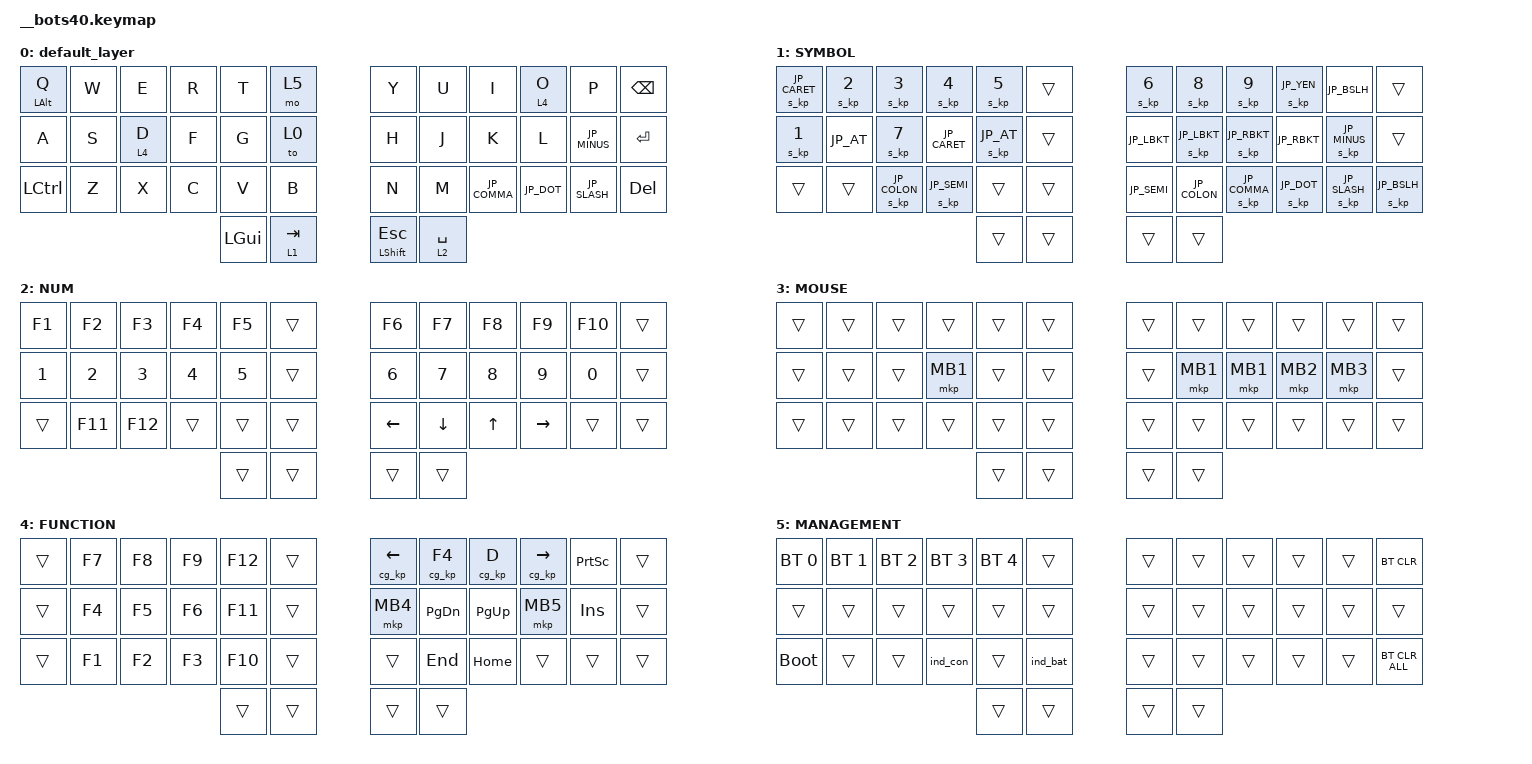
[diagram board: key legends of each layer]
#include <behaviors.dtsi>
#include <dt-bindings/zmk/bt.h>
#include <dt-bindings/zmk/keys.h>
#include <dt-bindings/zmk/pointing.h>

#include "./keycode_japanese.h"
#include <behaviors/rgbled_widget.dtsi>
#include <input/processors.dtsi>

// マウスの速度設定
// default; 600
#define ZMK_POINTING_DEFAULT_MOVE_VAL 1500 
// default; 10
#define ZMK_POINTING_DEFAULT_SCRL_VAL 20

&mt {
    flavor = "balanced";
    quick-tap-ms = <0>;
};

&mmv {
    time-to-max-speed-ms = <300>;
    acceleration-exponent = <1>;
};
&msc {
    time-to-max-speed-ms = <0>;
    acceleration-exponent = <1>;
};

// マウスキーを押したとき、指定した秒数だけマウスレイヤーを延長する
&mkp_input_listener {
    input-processors = <&zip_temp_layer 5 200>;
};

/ {
    combos {
        compatible = "zmk,combos";
    };

    macros {
         s_kp: s_kp {
            label = "S_KP";
            compatible = "zmk,behavior-macro-one-param";
            wait-ms = <16>;
            tap-ms = <0>;
            #binding-cells = <1>;
            bindings
                = <&macro_press &kp LSHFT>
                , <&macro_param_1to1>
                , <&macro_tap &kp MACRO_PLACEHOLDER>
                , <&macro_release &kp LSHFT>
                ;
        };
        cg_kp: cg_kp {
            label = "CG_KP";
            compatible = "zmk,behavior-macro-one-param";
            wait-ms = <16>;
            tap-ms = <0>;
            #binding-cells = <1>;
            bindings
                = <&macro_press &kp LGUI>
                , <&macro_press &kp LCTRL>
                , <&macro_param_1to1>
                , <&macro_tap &kp MACRO_PLACEHOLDER>
                , <&macro_release &kp LGUI>
                , <&macro_release &kp LCTRL>
                ;
        };
        // to_layer_0: to_layer_0 {
        //     compatible = "zmk,behavior-macro-one-param";
        //     #binding-cells = <1>;
        //     bindings = <&to 0 &macro_param_1to1 &kp MACRO_PLACEHOLDER>;
        //     label = "TO_LAYER_0";
        // };
    };

    behaviors {
        // lt_to_layer_0: lt_to_layer_0 {
        //     compatible = "zmk,behavior-hold-tap";
        //     label = "LAYER_TAP_TO_0";
        //     bindings = <&mo>, <&to_layer_0>;

        //     #binding-cells = <2>;
        //     tapping-term-ms = <200>;
        // };
    };

    keymap {
        compatible = "zmk,keymap";

        default_layer { //layer 0
            bindings = <
                &mt LALT Q  &kp W  &kp E    &kp R     &kp T      &mo 5              &kp Y  &kp U  &kp I         &lt 4 O     &kp P         &kp BSPC
                &kp A       &kp S  &lt 4 D  &kp F     &kp G      &to 0              &kp H  &kp J  &kp K         &kp L       &kp JP_MINUS  &kp RET
                &kp LCTRL   &kp Z  &kp X    &kp C     &kp V      &kp B              &kp N  &kp M  &kp JP_COMMA  &kp JP_DOT  &kp JP_SLASH  &kp DEL
                                            &kp LGUI  &lt 1 TAB  &mt LSHFT ESC      &lt 2 SPACE
            >;
        };
        /* layer 0
         *         ┌───┬───┬───┬─5─┐  ┌───┬───┬───┬───┐        
         * ┌Alt┬───┤ E │ R │ T │   │  │ Y │ U │ I │ O ├───┬───┐
         * │ Q │ W ├─2─┼───┼───┼───┤  ├───┼───┼───┼───┤ P │BSP│
         * ├───┼───┤ D │ F │ G │   │  │ H │ J │ K │ L ├───┼───┤
         * │ A │ S ├───┼───┼───┼───┤  ├───┼───┼───┼───┤ - │Ent│
         * ├───┼───┤ X │ C │ V │ B │  │ N │ M │ , │ . ├───┼───┤
         * │Ctl│ Z ├───┴───┴───┴───┘  └───┴───┴───┴───┤ / │Del│
         * └───┴───┘   ┌───┬─1─┬Sft┐  ┌─2─┐           └───┴───┘
         *             │GUI│Tab│Esc│  │Spc│                    
         *             └───┴───┴───┘  └───┘                    
         */

        SYMBOL { //layer 1
            bindings = <
                &s_kp JP_CARET  &s_kp N2     &s_kp N3        &s_kp N4       &s_kp N5     &trans            &s_kp N6     &s_kp N8       &s_kp N9        &s_kp JP_YEN  &kp JP_BSLH     &trans
                &s_kp N1        &kp JP_AT    &s_kp N7        &kp JP_CARET   &s_kp JP_AT  &trans            &kp JP_LBKT  &s_kp JP_LBKT  &s_kp JP_RBKT   &kp JP_RBKT   &s_kp JP_MINUS  &trans
                &trans          &trans       &s_kp JP_COLON  &s_kp JP_SEMI  &trans       &trans            &kp JP_SEMI  &kp JP_COLON   &s_kp JP_COMMA  &s_kp JP_DOT  &s_kp JP_SLASH  &s_kp JP_BSLH
                                                             &trans         &trans       &trans            &trans
            >;
        };
        /* layer 1
         *         ┌───┬───┬───┬───┐  ┌───┬───┬───┬───┐        
         * ┌───┬───┤ # │ $ │ % │   │  │ & │ ( │ ) │ | ├───┬───┐
         * │ ~ │ " ├───┼───┼───┼───┤  ├───┼───┼───┼───┤ \ │   │
         * ├───┼───┤ ' │ ^ │ ` │   │  │ [ │ { │ } │ ] ├───┼───┤
         * │ ! │ @ ├───┼───┼───┼───┤  ├───┼───┼───┼───┤ = │   │
         * ├───┼───┤ * │ + │   │   │  │ ; │ : │ < │ > ├───┼───┤
         * │   │   ├───┴───┴───┴───┘  └───┴───┴───┴───┤ ? │ _ │
         * └───┴───┘   ┌───┬───┬───┐  ┌───┐           └───┴───┘
         *             │   │   │   │  │   │                    
         *             └───┴───┴───┘  └───┘                    
         */

        NUM { //layer 2
            bindings = <
                &kp F1  &kp F2   &kp F3   &kp F4  &kp F5  &trans                         &kp F6  &kp F7  &kp F8  &kp F9  &kp F10  &trans
                &kp N1  &kp N2   &kp N3   &kp N4  &kp N5  &trans                         &kp N6  &kp N7  &kp N8  &kp N9  &kp N0   &trans
                &trans  &kp F11  &kp F12  &trans  &trans  &trans                         &kp LEFT_ARROW  &kp DOWN_ARROW  &kp UP_ARROW  &kp RIGHT_ARROW  &trans  &trans
                                          &trans  &trans  &trans                         &trans
            >;
        };
        /* layer 2(scroll)
         *         ┌───┬───┬───┬───┐  ┌───┬───┬───┬───┐        
         * ┌───┬───┤   │   │   │   │  │   │   │   │   ├───┬───┐
         * │   │   ├───┼───┼───┼───┤  ├───┼───┼───┼───┤   │   │
         * ├───┼───┤ 3 │ 4 │ 5 │   │  │ 6 │ 7 │ 8 │ 9 ├───┼───┤
         * │ 1 │ 2 ├───┼───┼───┼───┤  ├───┼───┼───┼───┤ 0 │   │
         * ├───┼───┤   │   │   │   │  │ ← │ ↓ │ ↑ │ → ├───┼───┤
         * │   │   ├───┴───┴───┴───┘  └───┴───┴───┴───┤   │   │
         * └───┴───┘   ┌───┬───┬───┐  ┌───┐           └───┴───┘
         *             │   │   │   │  │   │                    
         *             └───┴───┴───┘  └───┘                    
         */

        MOUSE { //layer 3
            bindings = <
                &trans  &trans  &trans  &trans    &trans  &trans                               &trans  &trans    &trans    &trans    &trans    &trans
                &trans  &trans  &trans  &mkp MB1  &trans  &trans                               &trans  &mkp MB1  &mkp MB1  &mkp MB2  &mkp MB3  &trans
                &trans  &trans  &trans  &trans    &trans  &trans                               &trans  &trans    &trans    &trans    &trans    &trans
                                        &trans    &trans  &trans                               &trans
            >;
        };
        /* layer 3
         *         ┌───┬───┬───┬───┐  ┌───┬───┬───┬───┐          M1: 
         * ┌───┬───┤   │   │   │   │  │   │   │MB3│   ├───┬───┐  M2: Alt-Left 
         * │Tab│   ├───┼───┼───┼───┤  ├───┼───┼───┼───┤   │   │  M3: Alt-Right
         * ├───┼───┤   │M2 │M3 │N/A│  │   │   │MB1│MB2├───┼───┤  M4: 
         * │   │   ├───┼───┼───┼───┤  ├───┼───┼───┼───┤   │   │
         * ├───┼───┤   │   │   │   │  │MML│MMD│MMU│MMR├───┼───┤
         * │   │   ├───┴───┴───┴───┘  └───┴───┴───┴───┤   │   │
         * └───┴───┘   ┌───┬───┬───┐  ┌───┐           └───┴───┘
         *             │   │   │   │  │   │                    
         *             └───┴───┴───┘  └───┘                    
         */

        FUNCTION { //layer 4
            bindings = <
                &trans  &kp F7  &kp F8  &kp F9  &kp F12  &trans                      &cg_kp LEFT_ARROW &cg_kp F4  &cg_kp D   &cg_kp RIGHT_ARROW  &kp PSCRN  &trans
                &trans  &kp F4  &kp F5  &kp F6  &kp F11  &trans                      &mkp MB4          &kp PG_DN  &kp PG_UP  &mkp MB5            &kp INS    &trans
                &trans  &kp F1  &kp F2  &kp F3  &kp F10  &trans                      &trans            &kp END    &kp HOME   &trans              &trans     &trans
                                        &trans  &trans   &trans                      &trans
            >;
        };
        /* layer 4
         *         ┌───┬───┬───┬───┐  ┌───┬───┬───┬───┐          M1: Win-Ctrl-Left
         * ┌───┬───┤F9 │F10│F11│F12│  │M1 │M2 │M3 │M4 ├───┬───┐  M2: Win-Ctrl-F4
         * │Tab│   ├───┼───┼───┼───┤  ├───┼───┼───┼───┤Prs│   │  M4: Win-Ctrl-D
         * ├───┼───┤F5 │F6 │F7 │F8 │  │MB4│PDn│PUp│MB5├───┼───┤  M3: Win-Ctrl-Right
         * │   │   ├───┼───┼───┼───┤  ├───┼───┼───┼───┤Ins│   │
         * ├───┼───┤F1 │F2 │F3 │F4 │  │   │End│Hom│   ├───┼───┤
         * │   │   ├───┴───┴───┴───┘  └───┴───┴───┴───┤   │   │
         * └───┴───┘   ┌───┬───┬───┐  ┌───┐           └───┴───┘
         *             │   │   │   │  │N/A│                    
         *             └───┴───┴───┘  └───┘                    
         */
        MANAGEMENT { //layer 5
            bindings = <
                &bt BT_SEL 0  &bt BT_SEL 1  &bt BT_SEL 2  &bt BT_SEL 3  &bt BT_SEL 4  &trans                  &trans  &trans  &trans  &trans  &trans  &bt BT_CLR
                &trans        &trans        &trans        &trans        &trans        &trans                  &trans  &trans  &trans  &trans  &trans  &trans
                &bootloader   &trans        &trans        &ind_con      &trans        &ind_bat                &trans  &trans  &trans  &trans  &trans  &bt BT_CLR_ALL
                                                          &trans        &trans        &trans                  &trans
            >;
        };
        /* layer 5
         *         ┌───┬───┬───┬───┐  ┌───┬───┬───┬───┐        
         * ┌───┬───┤   │   │   │   │  │   │   │   │   ├───┬───┐
         * │Tab│BTL├───┼───┼───┼───┤  ├───┼───┼───┼───┤   │BCL│
         * ├───┼───┤   │   │   │   │  │   │   │   │   ├───┼───┤
         * │   │   ├───┼───┼───┼───┤  ├───┼───┼───┼───┤   │   │
         * ├───┼───┤   │   │   │   │  │   │   │   │   ├───┼───┤
         * │   │   ├───┴───┴───┴───┘  └───┴───┴───┴───┤   │BCA│
         * └───┴───┘   ┌───┬───┬───┐  ┌───┐           └───┴───┘
         *             │   │   │   │  │   │                    
         *             └───┴───┴───┘  └───┘                    
         */

    };
};
//&trans  &trans  &trans  &trans  &trans  &trans                                         &trans  &trans  &trans  &trans  &trans  &trans
//&trans  &trans  &trans  &trans  &trans  &trans                                         &trans  &trans  &trans  &trans  &trans  &trans
//&trans  &trans  &trans  &trans  &trans  &trans                                         &trans  &trans  &trans  &trans  &trans  &trans
//                        &trans  &trans  &trans                                         &trans
